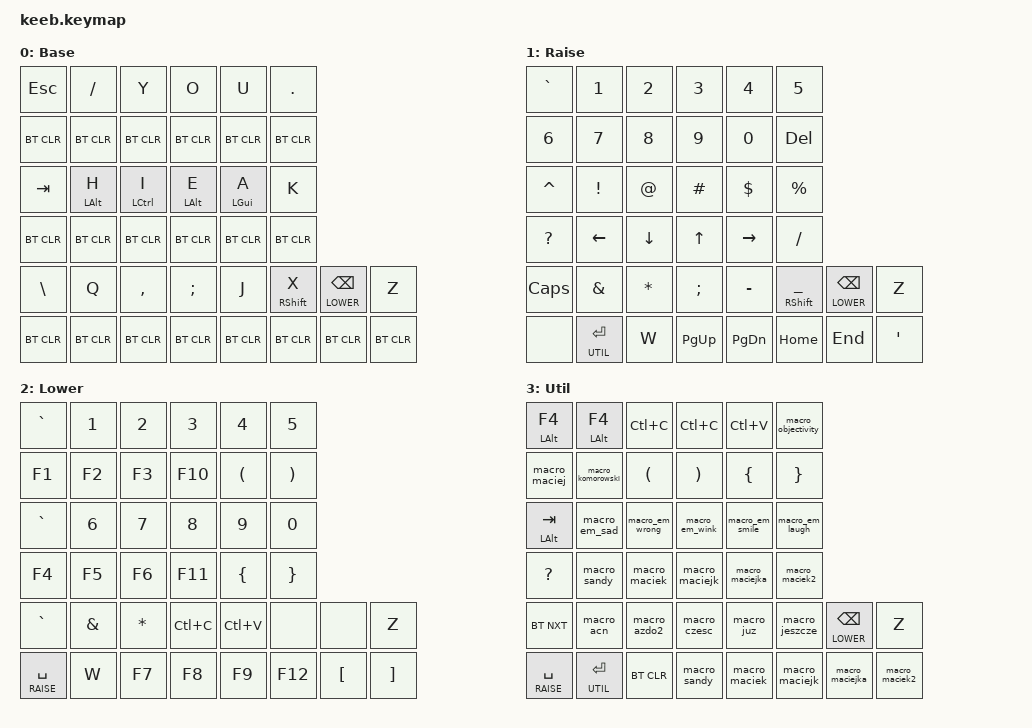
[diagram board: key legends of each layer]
/* keeb — ZMK keymap
 * Migrated from KMK (main.py + kb.py) by Claude Code.
 *
 * 40-key split layout:  3 rows × (6+6) + (8+8) thumb row
 *
 * Key position index map (used by combos):
 *
 *   Row 0  ┌─────────────────────────────┬─────────────────────────────┐
 *          │  0    1    2    3    4    5  │  6    7    8    9   10   11 │
 *   Row 1  │ 12   13   14   15   16   17 │ 18   19   20   21   22   23 │
 *   Row 2  │ 24   25   26   27   28   29   30   31 │ 32   33   34   35   36   37   38   39 │
 *          └──────────────────────────────────────────────────────────────────────────────┘
 *            ← LEFT HALF →                            ← RIGHT HALF →
 *
 * SENSITIVE macros (passwords / emails) live in keeb_secrets.dtsi (gitignored).
 * Copy keeb_secrets.dtsi.template → keeb_secrets.dtsi and fill in real values.
 */

#include <behaviors.dtsi>
#include <dt-bindings/zmk/keys.h>
#include <dt-bindings/zmk/bt.h>
#include "keeb_secrets.dtsi"

/* ── Layer indices ─────────────────────────────────────────────────── */
#define BASE    0
#define RAISE   1
#define LOWER   2
#define UTIL    3

/ {
    /* ── Non-sensitive macros ──────────────────────────────────────── */
    macros {
        /* ── Emoticons ─────────────────────────────────────────────── */
        macro_em_sad: macro_em_sad {        /* :( */
            compatible = "zmk,behavior-macro";
            #binding-cells = <0>;
            wait-ms = <15>;
            tap-ms  = <15>;
            bindings = <&kp LS(SEMI) &kp LS(N9)>;
        };

        macro_em_wrong: macro_em_wrong {    /* :/ */
            compatible = "zmk,behavior-macro";
            #binding-cells = <0>;
            wait-ms = <15>;
            tap-ms  = <15>;
            bindings = <&kp LS(SEMI) &kp SLASH>;
        };

        macro_em_smile: macro_em_smile {    /* :) */
            compatible = "zmk,behavior-macro";
            #binding-cells = <0>;
            wait-ms = <15>;
            tap-ms  = <15>;
            bindings = <&kp LS(SEMI) &kp LS(N0)>;
        };

        macro_em_wink: macro_em_wink {      /* ;) */
            compatible = "zmk,behavior-macro";
            #binding-cells = <0>;
            wait-ms = <15>;
            tap-ms  = <15>;
            bindings = <&kp SEMI &kp LS(N0)>;
        };

        macro_em_laugh: macro_em_laugh {    /* :D */
            compatible = "zmk,behavior-macro";
            #binding-cells = <0>;
            wait-ms = <15>;
            tap-ms  = <15>;
            bindings = <&kp LS(SEMI) &kp LS(D)>;
        };

        /* ── Names / companies ─────────────────────────────────────── */
        macro_maciej: macro_maciej {        /* Maciej */
            compatible = "zmk,behavior-macro";
            #binding-cells = <0>;
            wait-ms = <15>;
            tap-ms  = <15>;
            bindings = <&kp LS(M) &kp A &kp C &kp I &kp E &kp J>;
        };

        macro_komorowski: macro_komorowski { /* Komorowski */
            compatible = "zmk,behavior-macro";
            #binding-cells = <0>;
            wait-ms = <15>;
            tap-ms  = <15>;
            bindings = <&kp LS(K) &kp O &kp M &kp O &kp R &kp O &kp W &kp S &kp K &kp I>;
        };

        macro_objectivity: macro_objectivity { /* Objectivity */
            compatible = "zmk,behavior-macro";
            #binding-cells = <0>;
            wait-ms = <15>;
            tap-ms  = <15>;
            bindings = <&kp LS(O) &kp B &kp J &kp E &kp C &kp T &kp I &kp V &kp I &kp T &kp Y>;
        };

        macro_acn: macro_acn {              /* Accenture */
            compatible = "zmk,behavior-macro";
            #binding-cells = <0>;
            wait-ms = <15>;
            tap-ms  = <15>;
            bindings = <&kp LS(A) &kp C &kp C &kp E &kp N &kp T &kp U &kp R &kp E>;
        };

        macro_azdo2: macro_azdo2 {          /* Azure */
            compatible = "zmk,behavior-macro";
            #binding-cells = <0>;
            wait-ms = <15>;
            tap-ms  = <15>;
            bindings = <&kp LS(A) &kp Z &kp U &kp R &kp E>;
        };

        /* ── Polish words (ASCII approximation — no diacritics)
         *    TODO: Replace with zmk-unicode sequences once the module is set up.
         *    ż=U+017C  ś=U+015B  ć=U+0107
         *    See: https://github.com/nickcoutsos/zmk-unicode
         * ─────────────────────────────────────────────────────────── */
        macro_juz: macro_juz {              /* już  (ASCII: juz) */
            compatible = "zmk,behavior-macro";
            #binding-cells = <0>;
            wait-ms = <15>;
            tap-ms  = <15>;
            bindings = <&kp J &kp U &kp Z>;
        };

        macro_jeszcze: macro_jeszcze {      /* jeszcze (ASCII: jeszcze, missing ż) */
            compatible = "zmk,behavior-macro";
            #binding-cells = <0>;
            wait-ms = <15>;
            tap-ms  = <15>;
            bindings = <&kp J &kp E &kp S &kp Z &kp C &kp Z &kp E>;
        };

        macro_czesc: macro_czesc {          /* cześć (ASCII: czesc, missing ś ć) */
            compatible = "zmk,behavior-macro";
            #binding-cells = <0>;
            wait-ms = <15>;
            tap-ms  = <15>;
            bindings = <&kp C &kp Z &kp E &kp S &kp C>;
        };
    };

    /* ── Combos ────────────────────────────────────────────────────── */
    /*
     * Position reference (BASE layer):
     *   Y=2  O=3  U=4   C=7  M=8  N=9
     *   S=19 T=20 R=21
     *   COMMA=26 SEMI=27 J=28
     *   F=35 L=36 B=37
     */
    combos {
        compatible = "zmk,combos";

        /* O + Y  →  Ctrl+C */
        combo_copy {
            timeout-ms    = <35>;
            key-positions = <2 3>;
            bindings      = <&kp LC(C)>;
            layers        = <BASE>;
        };

        /* O + U  →  Ctrl+V */
        combo_paste {
            timeout-ms    = <35>;
            key-positions = <3 4>;
            bindings      = <&kp LC(V)>;
            layers        = <BASE>;
        };

        /* , + ; + J  →  Alt+Tab */
        combo_alt_tab {
            timeout-ms    = <35>;
            key-positions = <26 27 28>;
            bindings      = <&kp LA(TAB)>;
            layers        = <BASE>;
        };

        /* M + N + C  →  BLE: next profile
         * (was BLE_N = emoticon :) in KMK; restored to real BT control) */
        combo_ble_next {
            timeout-ms    = <50>;
            key-positions = <7 8 9>;
            bindings      = <&bt BT_NXT>;
            layers        = <BASE>;
        };

        /* S + T + R  →  BLE: previous profile
         * (was BLE_P = emoticon ;) in KMK; restored to real BT control) */
        combo_ble_prev {
            timeout-ms    = <50>;
            key-positions = <19 20 21>;
            bindings      = <&bt BT_PRV>;
            layers        = <BASE>;
        };

        /* F + L + B  →  BLE: clear pairing
         * (was BLE_C = emoticon :D in KMK; restored to real BT control) */
        combo_ble_clear {
            timeout-ms    = <50>;
            key-positions = <35 36 37>;
            bindings      = <&bt BT_CLR>;
            layers        = <BASE>;
        };
    };

    /* ── Keymap ─────────────────────────────────────────────────────── */
    keymap {
        compatible = "zmk,keymap";

        /* ── Layer 0: BASE ─────────────────────────────────────────── */
        /*
         * Home-row mods: hold for modifier, tap for letter.
         * Left:  H=Alt  I=Ctrl  E=Alt  A=GUI
         * Right: T=Alt  R=RCtrl P=RAlt
         * Thumb row: X/W=RShift, LT2=BSPC, LT1=SPC, LT3=ENTER
         *
         * ┌──────┬──────┬──────┬──────┬──────┬──────╥──────┬──────┬──────┬──────┬──────┬──────┐
         * │ ESC  │  /   │  y   │  o   │  u   │  .   ║  g   │  c   │  m   │  n   │  -   │ DEL  │
         * ├──────┼──────┼──────┼──────┼──────┼──────╫──────┼──────┼──────┼──────┼──────┼──────┤
         * │ TAB  │h/ALT │i/CTL │e/ALT │a/GUI │  k   ║  d   │  s   │t/ALT │r/RCT │p/RAL │  '   │
         * ├──────┼──────┼──────┼──────┼──────┼──────┼──────┼──────╫──────┼──────┼──────┼──────┼──────┼──────┼──────┼──────┤
         * │  \   │  q   │  ,   │  ;   │  j   │x/RSF │LW/BS │  z   ║ SP/RA│EN/UT │w/RSF │  f   │  l   │  b   │  v   │  =   │
         * └──────┴──────┴──────┴──────┴──────┴──────┴──────┴──────╨──────┴──────┴──────┴──────┴──────┴──────┴──────┴──────┘
         */
        base_layer {
            display-name = "Base";
            bindings = <
                /* Row 0 */
                &kp ESC    &kp SLASH  &kp Y      &kp O      &kp U      &kp DOT
                &bt BT_CLR      &bt BT_CLR      &bt BT_CLR      &bt BT_CLR      &bt BT_CLR  &bt BT_CLR
                /* Row 1 */
                &kp TAB    &mt LALT H  &mt LCTRL I  &mt LALT E  &mt LGUI A  &kp K
                &bt BT_CLR      &bt BT_CLR      &bt BT_CLR      &bt BT_CLR      &bt BT_CLR  &bt BT_CLR
                /* Row 2 */
                &kp BSLH   &kp Q      &kp COMMA  &kp SEMI   &kp J      &mt RSHFT X   &lt LOWER BSPC  &kp Z
                &bt BT_CLR      &bt BT_CLR      &bt BT_CLR      &bt BT_CLR      &bt BT_CLR  &bt BT_CLR &bt BT_CLR  &bt BT_CLR
            >;
        };

        /* ── Layer 1: RAISE  (numbers, symbols, nav) ───────────────── */
        /*
         * ┌──────┬──────┬──────┬──────┬──────┬──────╥──────┬──────┬──────┬──────┬──────┬──────┐
         * │  `   │  1   │  2   │  3   │  4   │  5   ║  6   │  7   │  8   │  9   │  0   │ DEL  │
         * ├──────┼──────┼──────┼──────┼──────┼──────╫──────┼──────┼──────┼──────┼──────┼──────┤
         * │  ^   │  !   │  @   │  #   │  $   │  %   ║  ?   │  ←   │  ↓   │  ↑   │  →   │  /   │
         * ├──────┼──────┼──────┼──────┼──────┼──────┼──────┼──────╫──────┼──────┼──────┼──────┼──────┼──────┼──────┼──────┤
         * │ CAPS │  &   │  *   │  ;   │  -   │_/RSF │LW/BS │  z   ║(none)│EN/UT │  w   │ PGUP │ PGDN │ HOME │ END  │  '   │
         * └──────┴──────┴──────┴──────┴──────┴──────┴──────┴──────╨──────┴──────┴──────┴──────┴──────┴──────┴──────┴──────┘
         */
        raise_layer {
            display-name = "Raise";
            bindings = <
                /* Row 0 */
                &kp GRAVE  &kp N1     &kp N2     &kp N3     &kp N4     &kp N5
                &kp N6     &kp N7     &kp N8     &kp N9     &kp N0     &kp DEL
                /* Row 1 */
                &kp CARET  &kp EXCL   &kp AT     &kp HASH   &kp DLLR   &kp PRCNT
                &kp QMARK  &kp LEFT   &kp DOWN   &kp UP     &kp RIGHT  &kp SLASH
                /* Row 2 */
                &kp CAPS   &kp AMPS   &kp ASTRK  &kp SEMI   &kp MINUS  &mt RSHFT UNDER  &lt LOWER BSPC  &kp Z
                &none      &lt UTIL ENTER  &kp W   &kp PG_UP  &kp PG_DN  &kp HOME  &kp END  &kp SQT
            >;
        };

        /* ── Layer 2: LOWER  (function keys, brackets) ─────────────── */
        /*
         * ┌──────┬──────┬──────┬──────┬──────┬──────╥──────┬──────┬──────┬──────┬──────┬──────┐
         * │  `   │  1   │  2   │  3   │  4   │  5   ║  F1  │  F2  │  F3  │ F10  │  (   │  )   │
         * ├──────┼──────┼──────┼──────┼──────┼──────╫──────┼──────┼──────┼──────┼──────┼──────┤
         * │  `   │  6   │  7   │  8   │  9   │  0   ║  F4  │  F5  │  F6  │ F11  │  {   │  }   │
         * ├──────┼──────┼──────┼──────┼──────┼──────┼──────┼──────╫──────┼──────┼──────┼──────┼──────┼──────┼──────┼──────┤
         * │  `   │  &   │  *   │ C-c  │ C-v  │(none)│(none)│  z   ║SP/RA │  w   │  F7  │  F8  │  F9  │ F12  │  [   │  ]   │
         * └──────┴──────┴──────┴──────┴──────┴──────┴──────┴──────╨──────┴──────┴──────┴──────┴──────┴──────┴──────┴──────┘
         */
        lower_layer {
            display-name = "Lower";
            bindings = <
                /* Row 0 */
                &kp GRAVE  &kp N1     &kp N2     &kp N3     &kp N4     &kp N5
                &kp F1     &kp F2     &kp F3     &kp F10    &kp LPAR   &kp RPAR
                /* Row 1 */
                &kp GRAVE  &kp N6     &kp N7     &kp N8     &kp N9     &kp N0
                &kp F4     &kp F5     &kp F6     &kp F11    &kp LBRC   &kp RBRC
                /* Row 2 */
                &kp GRAVE  &kp AMPS   &kp ASTRK  &kp LC(C)  &kp LC(V)  &none    &none  &kp Z
                &lt RAISE SPACE  &kp W  &kp F7  &kp F8     &kp F9     &kp F12  &kp LBKT  &kp RBKT
            >;
        };


        /* ── Layer 3: UTIL  (macros, BLE) ──────────────────────────── */
        /*
         * Sensitive entries (SANDY / emails) are defined in keeb_secrets.dtsi.
         *
         * ┌──────┬──────┬──────┬──────┬──────┬──────╥──────┬──────┬──────┬──────┬──────┬──────┐
         * │F4/AL │F4/AL │ C-c  │ C-c  │ C-v  │ OBJ  ║MACIEJ│KOMOR │  (   │  )   │  {   │  }   │
         * ├──────┼──────┼──────┼──────┼──────┼──────╫──────┼──────┼──────┼──────┼──────┼──────┤
         * │TB/AL │ :(   │ :/   │ ;)   │ :)   │ :D   ║  ?   │SANDY │MACIK │MACJK │MACJKA│MACIK2│
         * ├──────┼──────┼──────┼──────┼──────┼──────┼──────┼──────╫──────┼──────┼──────┼──────┼──────┼──────┼──────┼──────┤
         * │BTNXT │ ACN  │AZURE │CZESC │ JUZ  │JESZCZ│LW/BS │  z   ║SP/RA │EN/UT │BTCLR │SANDY │MACIK │MACJK │MACJKA│MACIK2│
         * └──────┴──────┴──────┴──────┴──────┴──────┴──────┴──────╨──────┴──────┴──────┴──────┴──────┴──────┴──────┴──────┘
         */
        util_layer {
            display-name = "Util";
            bindings = <
                /* Row 0 */
                &mt LALT F4         &mt LALT F4         &kp LC(C)       &kp LC(C)       &kp LC(V)       &macro_objectivity
                &macro_maciej       &macro_komorowski   &kp LPAR        &kp RPAR        &kp LBRC        &kp RBRC
                /* Row 1 */
                &mt LALT TAB        &macro_em_sad       &macro_em_wrong &macro_em_wink  &macro_em_smile &macro_em_laugh
                &kp QMARK           &macro_sandy        &macro_maciek   &macro_maciejk  &macro_maciejka &macro_maciek2
                /* Row 2 */
                &bt BT_NXT          &macro_acn          &macro_azdo2    &macro_czesc    &macro_juz      &macro_jeszcze  &lt LOWER BSPC  &kp Z
                &lt RAISE SPACE     &lt UTIL ENTER      &bt BT_CLR      &macro_sandy    &macro_maciek   &macro_maciejk  &macro_maciejka &macro_maciek2
            >;
        };
    };
};
